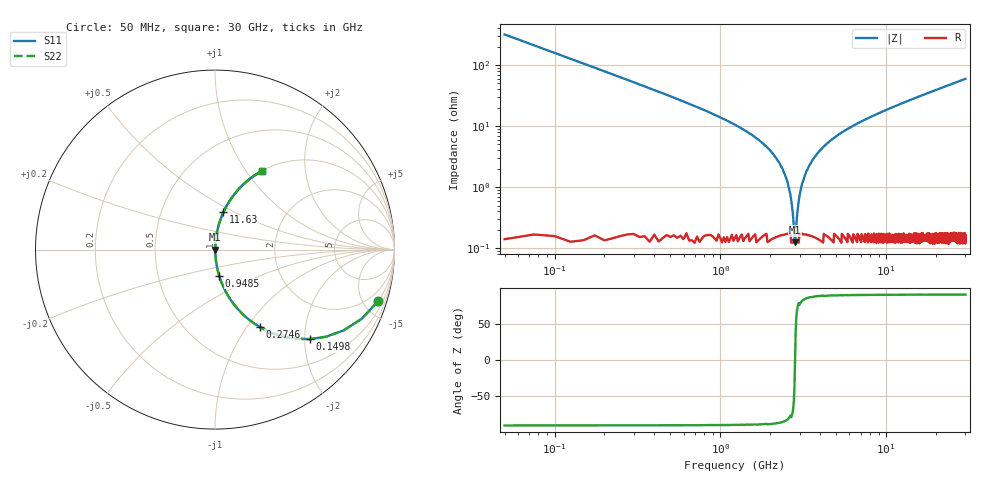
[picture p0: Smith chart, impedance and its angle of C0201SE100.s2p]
!	AVX Thin Film Operation 	Date: April 2014
!	Description: Accu-P® Series, Thin Film  SMD RF Capacitor
!	Part Number: 0201YK100FBSTR
# MHZ S MA R 50
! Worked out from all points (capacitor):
!   1201 points, 50 MHz to 30 GHz, reference 50 ohm
!   read as one part in series: C = 10 pF near 199.8 MHz
!   lowest |Z| = 124 mohm at 2.82 GHz (marker M1)
!   series resonance near 2.818 GHz, so ESL is about 320 pH
!   S11 on the Smith chart (normalised r, x): 50 MHz: 1.00, -6.37; 149.8 MHz: 1.00, -2.12; 274.6 MHz: 1.00, -1.15; 948.5 MHz: 1.00, -0.30; 11.63 GHz: 1.00, +0.44; 30 GHz: 1.00, +1.19
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50  0.954 -17.4  0.3 72.5  0.3 72.5  0.954 -17.4
149.833  0.727 -43.3  0.686 46.6  0.686 46.6  0.727 -43.3
274.625  0.497 -60.0  0.866 29.8  0.866 29.8  0.497 -60.0
499.25  0.295 -72.6  0.954 17.1  0.954 17.1  0.295 -72.6
948.5  0.147 -81.0  0.988 8.5  0.988 8.5  0.147 -81.0
2221.375  0.027 -85.3  0.998 1.6  0.998 1.6  0.027 -85.3
2495.917  0.014 -83.1  0.998 0.8  0.998 0.8  0.014 -83.1
2720.542  0.004252 -69.4  0.999 0.2  0.999 0.2  0.004252 -69.4
2820.375  0.00148 3.0  0.999 -0.0  0.999 -0.0  0.00148 3.0
2920.208  0.004266 69.5  0.999 -0.2  0.999 -0.2  0.004266 69.5
3045  0.008852 79.9  0.998 -0.5  0.998 -0.5  0.008852 79.9
3169.792  0.013 82.9  0.998 -0.8  0.998 -0.8  0.013 82.9
3469.292  0.024 85.1  0.998 -1.4  0.998 -1.4  0.024 85.1
4068.292  0.042 85.6  0.998 -2.4  0.998 -2.4  0.042 85.6
5041.667  0.069 84.8  0.996 -4.0  0.996 -4.0  0.069 84.8
7038.333  0.117 82.5  0.992 -6.7  0.992 -6.7  0.117 82.5
10058.29  0.182 79.0  0.982 -10.5  0.982 -10.5  0.182 79.0
11630.67  0.214 77.3  0.975 -12.4  0.975 -12.4  0.214 77.3
15025  0.279 73.5  0.959 -16.2  0.959 -16.2  0.279 73.5
20016.67  0.365 68.4  0.929 -21.4  0.929 -21.4  0.365 68.4
25033.29  0.443 63.5  0.895 -26.3  0.895 -26.3  0.443 63.5
30000  0.511 59.1  0.858 -30.7  0.858 -30.7  0.511 59.1
